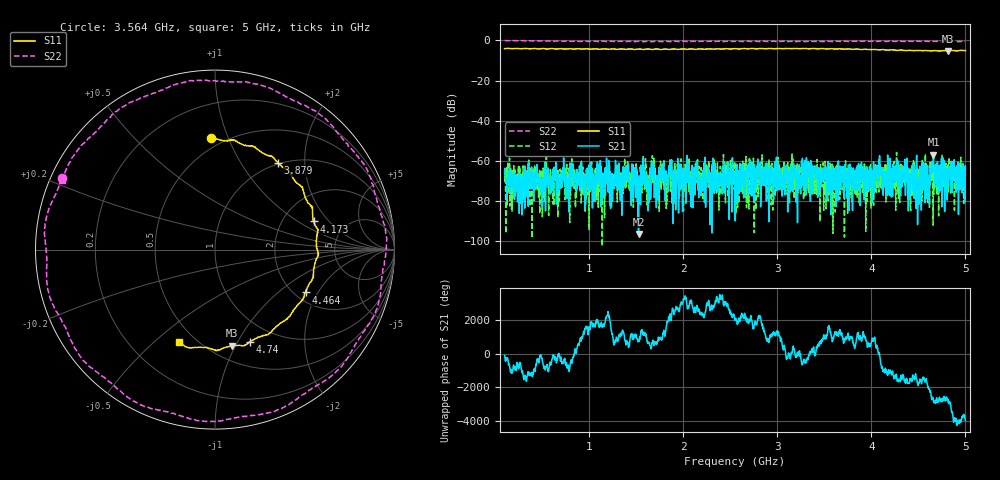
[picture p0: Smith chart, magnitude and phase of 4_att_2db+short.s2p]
!Keysight Technologies N9917A: A.12.46
! "!Date: Thursday, 09 November 2023 20:35:02"
!Timezone: (UTC-03:00) Buenos Aires
!Model: N9917A
!Serial: MY56072049
!GPS Latitude:
!GPS Longitude:
!GPS TimeStamp: 0001-01-01 00:00:00Z
!GPS Seconds Since Last Read: 0
!CHECKSUM:0747911887
!Correction: S11(ON U)S21(ON U)S12(ON U)S22(ON U)
! "!S2P File: Measurements:S11,S21,S12,S22:"
# Hz S DB R 50
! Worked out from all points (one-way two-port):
!   1601 points, 100 MHz to 5 GHz, reference 50 ohm
!   highest |S21| = -57.01 dB at 4.66 GHz (marker M1); lowest = -96.5 dB at 1.524 GHz (marker M2)
!   lowest |S11| = -5.3 dB at 4.813 GHz (marker M3), VSWR 3.38, Z = 31.8 - j48.3 ohm
!   |S11| at or under -10 dB: nowhere
!   |S22| runs from -0.6 to 0.0 dB; largest |S21 - S12| = 0.0022
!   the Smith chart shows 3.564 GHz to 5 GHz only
!   S11 on the Smith chart (normalised r, x): 3.564 GHz: 0.43, +0.87; 3.879 GHz: 0.98, +1.48; 4.173 GHz: 2.98, +1.39; 4.464 GHz: 2.28, -1.58; 4.74 GHz: 0.77, -1.13; 5 GHz: 0.40, -0.60
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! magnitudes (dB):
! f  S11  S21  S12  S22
! 100 MHz  -4.1  -66.2  -67.7  0.0
! 216.4 MHz  -4.0  -69.8  -69.5  -0.2
! 917.7 MHz  -4.4  -60.2  -66.8  -0.5
! 1.524 GHz  -4.3  -96.5  -71.8  -0.4
! 1.677 GHz  -4.5  -61.1  -71.0  -0.6
! 1.735 GHz  -4.4  -74.6  -73.2  -0.5
! 1.772 GHz  -4.4  -70.6  -70.9  -0.6
! 1.821 GHz  -4.3  -70.4  -75.7  -0.4
! 2.032 GHz  -4.5  -65.6  -64.3  -0.5
! 2.091 GHz  -4.2  -62.5  -69.0  -0.4
! 2.241 GHz  -4.4  -70.1  -61.3  -0.6
! 2.55 GHz  -4.1  -82.4  -67.9  -0.5
! 3.368 GHz  -4.0  -63.8  -62.8  -0.5
! 3.564 GHz  -4.1  -72.3  -72.7  -0.5
! 3.879 GHz  -4.5  -69.6  -61.4  -0.5
! 4.173 GHz  -4.8  -57.1  -65.2  -0.5
! 4.185 GHz  -4.8  -64.8  -65.1  -0.4
! 4.464 GHz  -5.1  -78.9  -73.1  -0.4
! 4.66 GHz  -5.1  -57.0  -63.5  -0.5
! 4.74 GHz  -5.2  -73.6  -62.6  -0.5
! 4.813 GHz  -5.3  -67.5  -65.1  -0.6
! 5 GHz  -5.1  -62.6  -67.4  -0.6
